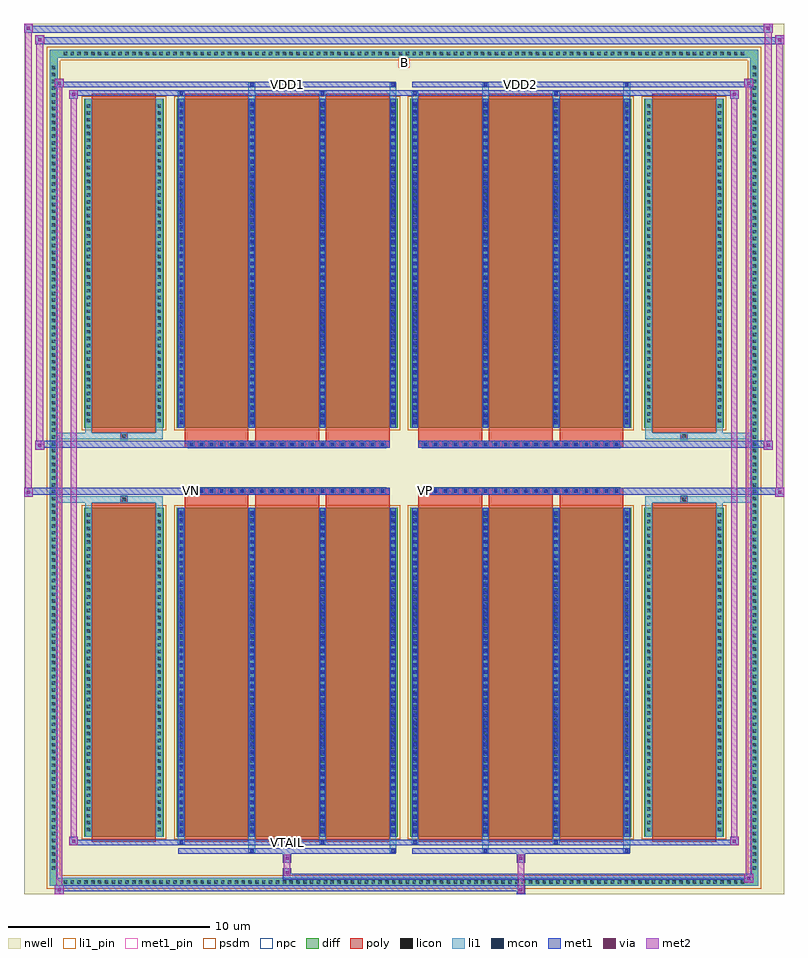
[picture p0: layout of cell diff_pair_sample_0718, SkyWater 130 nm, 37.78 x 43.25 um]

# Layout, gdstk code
import gdstk
lib = gdstk.Library(unit=1e-6, precision=5e-09)
def R(c, l, rs):  # rectangles x0, y0, x1, y1
    for r in rs: c.add(gdstk.rectangle(r[:2], r[2:], *l))
def A(c, l, x, y, w, h, nx, ny, dx, dy):  # array of equal rectangles
    R(c, l, [(x+i*dx, y+j*dy, x+i*dx+w, y+j*dy+h) for i in range(nx) for j in range(ny)])
def P(c, l, *ps):  # polygons
    for p in ps: c.add(gdstk.Polygon(p, *l))
nwell = (64, 20)
diff = (65, 20)
poly = (66, 20)
licon = (66, 44)
li1_pin = (67, 16)
li1 = (67, 20)
mcon = (67, 44)
met1_pin = (68, 16)
met1 = (68, 20)
via = (68, 44)
met2 = (69, 20)
psdm = (94, 20)
npc = (95, 20)

diff_pair_sample_0718 = lib.new_cell('diff_pair_sample_0718')
R(diff_pair_sample_0718, nwell, [(-18.89,-21.19,18.89,22.06), (-16.21,-19.38,-0.01,-0.8), (0.01,-19.38,16.21,-0.8), (-16.21,0.8,-0.01,19.38), (0.01,0.8,16.21,19.38)])
A(diff_pair_sample_0718, diff, -17.035, -20.79, 0.41, 0.41, 100, 2, 0.34, 41.17)
A(diff_pair_sample_0718, diff, -17.62, -20.095, 0.41, 0.41, 1, 118, 0, 0.34)
A(diff_pair_sample_0718, diff, 17.21, -20.095, 0.41, 0.41, 1, 118, 0, 0.34)
R(diff_pair_sample_0718, diff, [(-17.035,-20.79,17.035,-20.38), (-17.62,-20.095,-17.21,20.095), (17.21,-20.095,17.62,20.095), (-15.9,-18.335,-11.94,-1.985), (-11.3,-18.335,-0.32,-1.985), (0.32,-18.335,11.3,-1.985), (11.94,-18.335,15.9,-1.985), (-15.9,1.985,-11.94,18.335), (-11.3,1.985,-0.32,18.335), (0.32,1.985,11.3,18.335), (11.94,1.985,15.9,18.335), (-17.035,20.38,17.035,20.79)])
P(diff_pair_sample_0718, diff, [(17.62,20.79),(-17.62,20.79),(-17.62,-20.38),(-17.21,-20.38),(-17.21,20.38),(17.21,20.38),(17.21,-20.38),(-17.21,-20.38),(-17.62,-20.38),(-17.62,-20.79),(17.62,-20.79)])
A(diff_pair_sample_0718, poly, -10.91, -18.585, 3.18, 16.85, 3, 2, 3.51, 20.32)
A(diff_pair_sample_0718, poly, 0.71, -18.585, 3.18, 16.85, 3, 2, 3.51, 20.32)
A(diff_pair_sample_0718, poly, -10.91, -1.735, 3.18, 0.405, 3, 2, 3.51, 3.065)
A(diff_pair_sample_0718, poly, 0.71, -1.735, 3.18, 0.405, 3, 2, 3.51, 3.065)
A(diff_pair_sample_0718, poly, -10.725, -1.33, 0.33, 0.33, 20, 2, 0.5, 2.33)
A(diff_pair_sample_0718, poly, 0.895, -1.33, 0.33, 0.33, 20, 2, 0.5, 2.33)
R(diff_pair_sample_0718, poly, [(-15.51,-18.585,-12.33,-1.735), (12.33,-18.585,15.51,-1.735), (-14.085,-1.735,-13.755,-1.405), (-14.085,-1.735,-13.755,-1.405), (13.755,-1.735,14.085,-1.405), (13.755,-1.735,14.085,-1.405), (-10.91,-1.33,-0.71,-1), (0.71,-1.33,10.91,-1), (-10.91,1,-0.71,1.33), (0.71,1,10.91,1.33), (-14.085,1.405,-13.755,1.735), (-14.085,1.405,-13.755,1.735), (13.755,1.405,14.085,1.735), (13.755,1.405,14.085,1.735), (-15.51,1.735,-12.33,18.585), (12.33,1.735,15.51,18.585)])
A(diff_pair_sample_0718, licon, -16.915, -20.67, 0.17, 0.17, 100, 2, 0.34, 41.17)
A(diff_pair_sample_0718, licon, -17.5, -19.975, 0.17, 0.17, 1, 118, 0, 0.34)
A(diff_pair_sample_0718, licon, 17.33, -19.975, 0.17, 0.17, 1, 118, 0, 0.34)
A(diff_pair_sample_0718, licon, -15.76, -18.065, 0.17, 0.17, 1, 47, 0, 0.34)
A(diff_pair_sample_0718, licon, -12.25, -18.065, 0.17, 0.17, 1, 47, 0, 0.34)
A(diff_pair_sample_0718, licon, -11.16, -18.065, 0.17, 0.17, 4, 47, 3.51, 0.34)
A(diff_pair_sample_0718, licon, 0.46, -18.065, 0.17, 0.17, 4, 47, 3.51, 0.34)
A(diff_pair_sample_0718, licon, 12.08, -18.065, 0.17, 0.17, 1, 47, 0, 0.34)
A(diff_pair_sample_0718, licon, 15.59, -18.065, 0.17, 0.17, 1, 47, 0, 0.34)
A(diff_pair_sample_0718, licon, -10.645, -1.25, 0.17, 0.17, 20, 2, 0.5, 2.33)
A(diff_pair_sample_0718, licon, 0.975, -1.25, 0.17, 0.17, 20, 2, 0.5, 2.33)
A(diff_pair_sample_0718, licon, -15.76, 2.255, 0.17, 0.17, 1, 47, 0, 0.34)
A(diff_pair_sample_0718, licon, -12.25, 2.255, 0.17, 0.17, 1, 47, 0, 0.34)
A(diff_pair_sample_0718, licon, -11.16, 2.255, 0.17, 0.17, 4, 47, 3.51, 0.34)
A(diff_pair_sample_0718, licon, 0.46, 2.255, 0.17, 0.17, 4, 47, 3.51, 0.34)
A(diff_pair_sample_0718, licon, 12.08, 2.255, 0.17, 0.17, 1, 47, 0, 0.34)
A(diff_pair_sample_0718, licon, 15.59, 2.255, 0.17, 0.17, 1, 47, 0, 0.34)
R(diff_pair_sample_0718, licon, [(-14.005,-1.655,-13.835,-1.485), (13.835,-1.655,14.005,-1.485), (-14.005,1.485,-13.835,1.655), (13.835,1.485,14.005,1.655)])
R(diff_pair_sample_0718, li1_pin, [(-0.25,19.88,0.25,20.38)])
A(diff_pair_sample_0718, li1, -16.995, -20.75, 0.33, 0.33, 100, 2, 0.34, 41.17)
A(diff_pair_sample_0718, li1, -17.58, -20.055, 0.33, 0.33, 1, 118, 0, 0.34)
A(diff_pair_sample_0718, li1, 17.25, -20.055, 0.33, 0.33, 1, 118, 0, 0.34)
A(diff_pair_sample_0718, li1, -11.24, -18.335, 0.33, 16.35, 4, 2, 3.51, 20.32)
A(diff_pair_sample_0718, li1, 0.38, -18.335, 0.33, 16.35, 4, 2, 3.51, 20.32)
A(diff_pair_sample_0718, li1, -11.16, -18.165, 0.17, 0.17, 4, 45, 3.51, 0.36)
A(diff_pair_sample_0718, li1, -11.16, -18.165, 0.17, 16.01, 4, 2, 3.51, 20.32)
A(diff_pair_sample_0718, li1, 0.46, -18.165, 0.17, 0.17, 4, 45, 3.51, 0.36)
A(diff_pair_sample_0718, li1, 0.46, -18.165, 0.17, 16.01, 4, 2, 3.51, 20.32)
A(diff_pair_sample_0718, li1, -15.84, -18.145, 0.33, 0.33, 1, 47, 0, 0.34)
A(diff_pair_sample_0718, li1, -12.33, -18.145, 0.33, 0.33, 1, 47, 0, 0.34)
A(diff_pair_sample_0718, li1, -11.24, -18.145, 0.33, 0.33, 4, 47, 3.51, 0.34)
A(diff_pair_sample_0718, li1, 0.38, -18.145, 0.33, 0.33, 4, 47, 3.51, 0.34)
A(diff_pair_sample_0718, li1, 12, -18.145, 0.33, 0.33, 1, 47, 0, 0.34)
A(diff_pair_sample_0718, li1, 15.51, -18.145, 0.33, 0.33, 1, 47, 0, 0.34)
A(diff_pair_sample_0718, li1, -10.725, -1.33, 0.33, 0.33, 20, 2, 0.5, 2.33)
A(diff_pair_sample_0718, li1, 0.895, -1.33, 0.33, 0.33, 20, 2, 0.5, 2.33)
A(diff_pair_sample_0718, li1, -11.16, 2.155, 0.17, 0.17, 4, 45, 3.51, 0.36)
A(diff_pair_sample_0718, li1, 0.46, 2.155, 0.17, 0.17, 4, 45, 3.51, 0.36)
A(diff_pair_sample_0718, li1, -15.84, 2.175, 0.33, 0.33, 1, 47, 0, 0.34)
A(diff_pair_sample_0718, li1, -12.33, 2.175, 0.33, 0.33, 1, 47, 0, 0.34)
A(diff_pair_sample_0718, li1, -11.24, 2.175, 0.33, 0.33, 4, 47, 3.51, 0.34)
A(diff_pair_sample_0718, li1, 0.38, 2.175, 0.33, 0.33, 4, 47, 3.51, 0.34)
A(diff_pair_sample_0718, li1, 12, 2.175, 0.33, 0.33, 1, 47, 0, 0.34)
A(diff_pair_sample_0718, li1, 15.51, 2.175, 0.33, 0.33, 1, 47, 0, 0.34)
R(diff_pair_sample_0718, li1, [(-17.62,-20.79,-17.21,-20.38), (-17.62,-20.79,-17.21,-20.38), (-17.21,-20.79,17.21,-20.38), (17.21,-20.79,17.62,-20.38), (17.21,-20.79,17.62,-20.38), (-17.62,-20.38,-17.21,20.38), (17.21,-20.38,17.62,20.38), (-7.73,-19.14,-7.4,-18.335), (-7.65,-19.14,-7.48,-18.97), (-0.71,-19.14,-0.38,-18.335), (-0.63,-19.14,-0.46,-18.97), (3.89,-19.14,4.22,-18.335), (3.97,-19.14,4.14,-18.97), (10.91,-19.14,11.24,-18.335), (10.99,-19.14,11.16,-18.97), (-11.24,-18.71,-10.91,-18.335), (-11.16,-18.71,-10.99,-18.54), (-4.22,-18.71,-3.89,-18.335), (-4.14,-18.71,-3.97,-18.54), (0.38,-18.71,0.71,-18.335), (0.46,-18.71,0.63,-18.54), (7.4,-18.71,7.73,-18.335), (7.48,-18.71,7.65,-18.54), (-15.84,-18.335,-15.51,-1.985), (-12.33,-18.335,-12,-1.985), (12,-18.335,12.33,-1.985), (15.51,-18.335,15.84,-1.985), (-15.84,-1.985,-15.51,-1.405), (-12.33,-1.985,-12,-1.405), (12,-1.985,12.33,-1.405), (15.51,-1.985,15.84,-1.405), (-17.62,-1.735,-14.085,-1.405), (-15.84,-1.735,-14.085,-1.405), (-14.085,-1.735,-13.755,-1.405), (-13.755,-1.735,-12,-1.405), (12,-1.735,13.755,-1.405), (13.755,-1.735,14.085,-1.405), (13.755,-1.735,17.62,-1.405), (14.085,-1.735,15.84,-1.405), (-17.62,1.405,-14.085,1.735), (-15.84,1.405,-14.085,1.735), (-15.84,1.405,-15.51,1.985), (-14.085,1.405,-13.755,1.735), (-13.755,1.405,-12,1.735), (-12.33,1.405,-12,1.985), (12,1.405,13.755,1.735), (12,1.405,12.33,1.985), (13.755,1.405,14.085,1.735), (13.755,1.405,17.62,1.735), (14.085,1.405,15.84,1.735), (15.51,1.405,15.84,1.985), (-15.84,1.985,-15.51,18.335), (-12.33,1.985,-12,18.335), (12,1.985,12.33,18.335), (15.51,1.985,15.84,18.335), (-11.24,18.335,-10.91,18.71), (-7.73,18.335,-7.4,19.14), (-4.22,18.335,-3.89,18.71), (-0.71,18.335,-0.38,19.14), (0.38,18.335,0.71,18.71), (3.89,18.335,4.22,19.14), (7.4,18.335,7.73,18.71), (10.91,18.335,11.24,19.14), (-11.16,18.54,-10.99,18.71), (-4.14,18.54,-3.97,18.71), (0.46,18.54,0.63,18.71), (7.48,18.54,7.65,18.71), (-7.65,18.97,-7.48,19.14), (-0.63,18.97,-0.46,19.14), (3.97,18.97,4.14,19.14), (10.99,18.97,11.16,19.14), (-17.62,20.38,-17.21,20.79), (-17.62,20.38,-17.21,20.79), (-17.21,20.38,17.21,20.79), (17.21,20.38,17.62,20.79), (17.21,20.38,17.62,20.79)])
A(diff_pair_sample_0718, mcon, -11.16, -18.165, 0.17, 0.17, 4, 45, 3.51, 0.36)
A(diff_pair_sample_0718, mcon, 0.46, -18.165, 0.17, 0.17, 4, 45, 3.51, 0.36)
A(diff_pair_sample_0718, mcon, -10.645, -1.25, 0.17, 0.17, 20, 2, 0.5, 2.33)
A(diff_pair_sample_0718, mcon, 0.975, -1.25, 0.17, 0.17, 20, 2, 0.5, 2.33)
A(diff_pair_sample_0718, mcon, -11.16, 2.155, 0.17, 0.17, 4, 45, 3.51, 0.36)
A(diff_pair_sample_0718, mcon, 0.46, 2.155, 0.17, 0.17, 4, 45, 3.51, 0.36)
R(diff_pair_sample_0718, mcon, [(-7.65,-19.14,-7.48,-18.97), (-0.63,-19.14,-0.46,-18.97), (3.97,-19.14,4.14,-18.97), (10.99,-19.14,11.16,-18.97), (-11.16,-18.71,-10.99,-18.54), (-4.14,-18.71,-3.97,-18.54), (0.46,-18.71,0.63,-18.54), (7.48,-18.71,7.65,-18.54), (-11.16,18.54,-10.99,18.71), (-4.14,18.54,-3.97,18.71), (0.46,18.54,0.63,18.71), (7.48,18.54,7.65,18.71), (-7.65,18.97,-7.48,19.14), (-0.63,18.97,-0.46,19.14), (3.97,18.97,4.14,19.14), (10.99,18.97,11.16,19.14)])
R(diff_pair_sample_0718, met1_pin, [(-5.945,-18.75,-5.675,-18.48), (-10.695,-1.29,-10.425,-1.02), (0.925,-1.29,1.195,-1.02), (-5.945,18.93,-5.675,19.2), (5.675,18.93,5.945,19.2)])
A(diff_pair_sample_0718, met1, -11.22, -18.335, 0.29, 16.35, 4, 2, 3.51, 20.32)
A(diff_pair_sample_0718, met1, 0.4, -18.335, 0.29, 16.35, 4, 2, 3.51, 20.32)
A(diff_pair_sample_0718, met1, -11.22, -18.225, 0.29, 0.29, 4, 45, 3.51, 0.36)
A(diff_pair_sample_0718, met1, 0.4, -18.225, 0.29, 0.29, 4, 45, 3.51, 0.36)
A(diff_pair_sample_0718, met1, -10.705, -1.31, 0.29, 0.29, 20, 2, 0.5, 2.33)
A(diff_pair_sample_0718, met1, 0.915, -1.31, 0.29, 0.29, 20, 2, 0.5, 2.33)
A(diff_pair_sample_0718, met1, -11.22, 2.095, 0.29, 0.29, 4, 45, 3.51, 0.36)
A(diff_pair_sample_0718, met1, 0.4, 2.095, 0.29, 0.29, 4, 45, 3.51, 0.36)
R(diff_pair_sample_0718, met1, [(-17.35,-21.19,-16.92,-20.76), (5.595,-21.19,6.025,-20.76), (-17.35,-21.05,6.025,-20.76), (16.92,-20.62,17.35,-20.19), (-6.025,-20.48,17.35,-20.19), (-6.025,-20.34,-5.595,-19.91), (-6.025,-19.63,-5.595,-19.2), (5.595,-19.63,6.025,-19.2), (-11.22,-19.2,-0.4,-18.91), (-7.71,-19.2,-7.42,-18.91), (-0.69,-19.2,-0.4,-18.91), (0.4,-19.2,11.22,-18.91), (3.91,-19.2,4.2,-18.91), (10.93,-19.2,11.22,-18.91), (-16.64,-18.77,-16.21,-18.34), (-16.64,-18.77,-11.22,-18.48), (-11.22,-18.77,-10.93,-18.48), (-11.22,-18.77,-0.4,-18.48), (-4.2,-18.77,-3.91,-18.48), (-0.4,-18.77,0.4,-18.48), (0.4,-18.77,0.69,-18.48), (0.4,-18.77,11.22,-18.48), (7.42,-18.77,7.71,-18.48), (11.22,-18.77,16.64,-18.48), (16.21,-18.77,16.64,-18.34), (-18.89,-1.43,-18.46,-1), (18.46,-1.43,18.89,-1), (-18.89,-1.33,-0.71,-1), (-10.91,-1.33,-0.71,-1), (0.71,-1.33,10.91,-1), (0.71,-1.33,18.89,-1), (-18.32,0.9,-17.89,1.33), (17.89,0.9,18.32,1.33), (-18.32,1,-10.91,1.33), (-10.91,1,-0.71,1.33), (0.71,1,10.91,1.33), (10.91,1,18.32,1.33), (-16.64,18.34,-16.21,18.77), (16.21,18.34,16.64,18.77), (-16.64,18.48,-11.22,18.77), (-11.22,18.48,-10.93,18.77), (-11.22,18.48,-0.4,18.77), (-4.2,18.48,-3.91,18.77), (-0.4,18.48,0.4,18.77), (0.4,18.48,0.69,18.77), (0.4,18.48,11.22,18.77), (7.42,18.48,7.71,18.77), (11.22,18.48,16.64,18.77), (-17.35,18.91,-16.92,19.34), (-17.35,18.91,-11.22,19.2), (-11.22,18.91,-0.4,19.2), (-7.71,18.91,-7.42,19.2), (-0.69,18.91,-0.4,19.2), (0.4,18.91,11.22,19.2), (3.91,18.91,4.2,19.2), (10.93,18.91,11.22,19.2), (11.22,18.91,17.35,19.2), (16.92,18.91,17.35,19.34), (-18.32,21.06,-17.89,21.49), (-18.32,21.06,-16.21,21.39), (-16.21,21.06,16.21,21.39), (16.21,21.06,18.89,21.39), (18.46,21.06,18.89,21.49), (-18.89,21.63,-18.46,22.06), (-18.89,21.63,-16.21,21.96), (-16.21,21.63,16.21,21.96), (16.21,21.63,18.32,21.96), (17.89,21.63,18.32,22.06)])
R(diff_pair_sample_0718, via, [(-17.21,-21.05,-17.06,-20.9), (5.735,-21.05,5.885,-20.9), (17.06,-20.48,17.21,-20.33), (-5.885,-20.2,-5.735,-20.05), (-5.885,-19.49,-5.735,-19.34), (5.735,-19.49,5.885,-19.34), (-16.5,-18.63,-16.35,-18.48), (16.35,-18.63,16.5,-18.48), (-18.75,-1.29,-18.6,-1.14), (18.6,-1.29,18.75,-1.14), (-18.18,1.04,-18.03,1.19), (18.03,1.04,18.18,1.19), (-16.5,18.48,-16.35,18.63), (16.35,18.48,16.5,18.63), (-17.21,19.05,-17.06,19.2), (17.06,19.05,17.21,19.2), (-18.18,21.2,-18.03,21.35), (18.6,21.2,18.75,21.35), (-18.75,21.77,-18.6,21.92), (18.03,21.77,18.18,21.92)])
R(diff_pair_sample_0718, met2, [(-17.35,-21.19,-16.92,-20.76), (-17.28,-21.19,-16.99,19.34), (-16.99,-21.19,-16.92,-20.76), (-17.3,-21.14,-16.97,-20.81), (5.645,-21.14,5.975,-20.81), (5.645,-20.81,5.975,-19.58), (16.92,-20.62,17.35,-20.19), (16.99,-20.62,17.28,19.34), (17.28,-20.62,17.35,-20.19), (16.97,-20.57,17.3,-20.24), (-5.975,-20.29,-5.645,-19.96), (-5.975,-19.96,-5.645,-19.58), (-5.975,-19.58,-5.645,-19.25), (5.645,-19.58,5.975,-19.25), (-16.64,-18.77,-16.21,-18.34), (-16.57,-18.77,-16.28,18.77), (-16.28,-18.77,-16.21,-18.34), (16.21,-18.77,16.64,-18.34), (16.28,-18.77,16.57,18.77), (16.57,-18.77,16.64,-18.34), (-16.59,-18.72,-16.26,-18.39), (16.26,-18.72,16.59,-18.39), (-18.89,-1.43,-18.46,-1), (-18.84,-1.43,-18.51,22.06), (-18.51,-1.43,-18.46,-1), (18.46,-1.43,18.89,-1), (18.51,-1.43,18.84,21.49), (18.84,-1.43,18.89,-1), (-18.84,-1.38,-18.51,-1.05), (18.51,-1.38,18.84,-1.05), (-18.32,0.9,-17.89,1.33), (-18.27,0.9,-17.94,21.49), (-17.94,0.9,-17.89,1.33), (17.89,0.9,18.32,1.33), (17.94,0.9,18.27,22.06), (18.27,0.9,18.32,1.33), (-18.27,0.95,-17.94,1.28), (17.94,0.95,18.27,1.28), (-16.64,18.34,-16.21,18.77), (-16.28,18.34,-16.21,18.77), (16.21,18.34,16.64,18.77), (16.57,18.34,16.64,18.77), (-16.59,18.39,-16.26,18.72), (16.26,18.39,16.59,18.72), (-17.35,18.91,-16.92,19.34), (-16.99,18.91,-16.92,19.34), (16.92,18.91,17.35,19.34), (17.28,18.91,17.35,19.34), (-17.3,18.96,-16.97,19.29), (16.97,18.96,17.3,19.29), (-18.32,21.06,-17.89,21.49), (-17.94,21.06,-17.89,21.49), (18.46,21.06,18.89,21.49), (18.84,21.06,18.89,21.49), (-18.27,21.11,-17.94,21.44), (18.51,21.11,18.84,21.44), (-18.89,21.63,-18.46,22.06), (-18.51,21.63,-18.46,22.06), (17.89,21.63,18.32,22.06), (18.27,21.63,18.32,22.06), (-18.84,21.68,-18.51,22.01), (17.94,21.68,18.27,22.01)])
R(diff_pair_sample_0718, psdm, [(-16.03,-18.465,-11.81,-1.855), (-11.43,-18.465,-0.19,-1.855), (0.19,-18.465,11.43,-1.855), (11.81,-18.465,16.03,-1.855), (-16.03,1.855,-11.81,18.465), (-11.43,1.855,-0.19,18.465), (0.19,1.855,11.43,18.465), (11.81,1.855,16.03,18.465)])
P(diff_pair_sample_0718, psdm, [(17.75,20.92),(-17.75,20.92),(-17.75,-20.25),(-17.08,-20.25),(-17.08,20.25),(17.08,20.25),(17.08,-20.25),(-17.08,-20.25),(-17.75,-20.25),(-17.75,-20.92),(17.75,-20.92)])
A(diff_pair_sample_0718, npc, -10.745, -1.35, 0.37, 0.37, 20, 2, 0.5, 2.33)
A(diff_pair_sample_0718, npc, 0.875, -1.35, 0.37, 0.37, 20, 2, 0.5, 2.33)
R(diff_pair_sample_0718, npc, [(-14.105,-1.755,-13.735,-1.385), (13.735,-1.755,14.105,-1.385), (-10.745,-1.35,-9.875,-0.98), (-10.745,-1.35,-9.875,-0.98), (-10.245,-1.35,-9.375,-0.98), (-10.245,-1.35,-9.375,-0.98), (-9.745,-1.35,-8.875,-0.98), (-9.745,-1.35,-8.875,-0.98), (-9.245,-1.35,-8.375,-0.98), (-9.245,-1.35,-8.375,-0.98), (-8.745,-1.35,-7.875,-0.98), (-8.745,-1.35,-7.875,-0.98), (-8.245,-1.35,-7.375,-0.98), (-8.245,-1.35,-7.375,-0.98), (-7.745,-1.35,-6.875,-0.98), (-7.745,-1.35,-6.875,-0.98), (-7.245,-1.35,-6.375,-0.98), (-7.245,-1.35,-6.375,-0.98), (-6.745,-1.35,-5.875,-0.98), (-6.745,-1.35,-5.875,-0.98), (-6.245,-1.35,-5.375,-0.98), (-6.245,-1.35,-5.375,-0.98), (-5.745,-1.35,-4.875,-0.98), (-5.745,-1.35,-4.875,-0.98), (-5.245,-1.35,-4.375,-0.98), (-5.245,-1.35,-4.375,-0.98), (-4.745,-1.35,-3.875,-0.98), (-4.745,-1.35,-3.875,-0.98), (-4.245,-1.35,-3.375,-0.98), (-4.245,-1.35,-3.375,-0.98), (-3.745,-1.35,-2.875,-0.98), (-3.745,-1.35,-2.875,-0.98), (-3.245,-1.35,-2.375,-0.98), (-3.245,-1.35,-2.375,-0.98), (-2.745,-1.35,-1.875,-0.98), (-2.745,-1.35,-1.875,-0.98), (-2.245,-1.35,-1.375,-0.98), (-2.245,-1.35,-1.375,-0.98), (-1.745,-1.35,-0.875,-0.98), (-1.745,-1.35,-0.875,-0.98), (0.875,-1.35,1.745,-0.98), (0.875,-1.35,1.745,-0.98), (1.375,-1.35,2.245,-0.98), (1.375,-1.35,2.245,-0.98), (1.875,-1.35,2.745,-0.98), (1.875,-1.35,2.745,-0.98), (2.375,-1.35,3.245,-0.98), (2.375,-1.35,3.245,-0.98), (2.875,-1.35,3.745,-0.98), (2.875,-1.35,3.745,-0.98), (3.375,-1.35,4.245,-0.98), (3.375,-1.35,4.245,-0.98), (3.875,-1.35,4.745,-0.98), (3.875,-1.35,4.745,-0.98), (4.375,-1.35,5.245,-0.98), (4.375,-1.35,5.245,-0.98), (4.875,-1.35,5.745,-0.98), (4.875,-1.35,5.745,-0.98), (5.375,-1.35,6.245,-0.98), (5.375,-1.35,6.245,-0.98), (5.875,-1.35,6.745,-0.98), (5.875,-1.35,6.745,-0.98), (6.375,-1.35,7.245,-0.98), (6.375,-1.35,7.245,-0.98), (6.875,-1.35,7.745,-0.98), (6.875,-1.35,7.745,-0.98), (7.375,-1.35,8.245,-0.98), (7.375,-1.35,8.245,-0.98), (7.875,-1.35,8.745,-0.98), (7.875,-1.35,8.745,-0.98), (8.375,-1.35,9.245,-0.98), (8.375,-1.35,9.245,-0.98), (8.875,-1.35,9.745,-0.98), (8.875,-1.35,9.745,-0.98), (9.375,-1.35,10.245,-0.98), (9.375,-1.35,10.245,-0.98), (9.875,-1.35,10.745,-0.98), (9.875,-1.35,10.745,-0.98), (-10.745,0.98,-9.875,1.35), (-10.745,0.98,-9.875,1.35), (-10.245,0.98,-9.375,1.35), (-10.245,0.98,-9.375,1.35), (-9.745,0.98,-8.875,1.35), (-9.745,0.98,-8.875,1.35), (-9.245,0.98,-8.375,1.35), (-9.245,0.98,-8.375,1.35), (-8.745,0.98,-7.875,1.35), (-8.745,0.98,-7.875,1.35), (-8.245,0.98,-7.375,1.35), (-8.245,0.98,-7.375,1.35), (-7.745,0.98,-6.875,1.35), (-7.745,0.98,-6.875,1.35), (-7.245,0.98,-6.375,1.35), (-7.245,0.98,-6.375,1.35), (-6.745,0.98,-5.875,1.35), (-6.745,0.98,-5.875,1.35), (-6.245,0.98,-5.375,1.35), (-6.245,0.98,-5.375,1.35), (-5.745,0.98,-4.875,1.35), (-5.745,0.98,-4.875,1.35), (-5.245,0.98,-4.375,1.35), (-5.245,0.98,-4.375,1.35), (-4.745,0.98,-3.875,1.35), (-4.745,0.98,-3.875,1.35), (-4.245,0.98,-3.375,1.35), (-4.245,0.98,-3.375,1.35), (-3.745,0.98,-2.875,1.35), (-3.745,0.98,-2.875,1.35), (-3.245,0.98,-2.375,1.35), (-3.245,0.98,-2.375,1.35), (-2.745,0.98,-1.875,1.35), (-2.745,0.98,-1.875,1.35), (-2.245,0.98,-1.375,1.35), (-2.245,0.98,-1.375,1.35), (-1.745,0.98,-0.875,1.35), (-1.745,0.98,-0.875,1.35), (0.875,0.98,1.745,1.35), (0.875,0.98,1.745,1.35), (1.375,0.98,2.245,1.35), (1.375,0.98,2.245,1.35), (1.875,0.98,2.745,1.35), (1.875,0.98,2.745,1.35), (2.375,0.98,3.245,1.35), (2.375,0.98,3.245,1.35), (2.875,0.98,3.745,1.35), (2.875,0.98,3.745,1.35), (3.375,0.98,4.245,1.35), (3.375,0.98,4.245,1.35), (3.875,0.98,4.745,1.35), (3.875,0.98,4.745,1.35), (4.375,0.98,5.245,1.35), (4.375,0.98,5.245,1.35), (4.875,0.98,5.745,1.35), (4.875,0.98,5.745,1.35), (5.375,0.98,6.245,1.35), (5.375,0.98,6.245,1.35), (5.875,0.98,6.745,1.35), (5.875,0.98,6.745,1.35), (6.375,0.98,7.245,1.35), (6.375,0.98,7.245,1.35), (6.875,0.98,7.745,1.35), (6.875,0.98,7.745,1.35), (7.375,0.98,8.245,1.35), (7.375,0.98,8.245,1.35), (7.875,0.98,8.745,1.35), (7.875,0.98,8.745,1.35), (8.375,0.98,9.245,1.35), (8.375,0.98,9.245,1.35), (8.875,0.98,9.745,1.35), (8.875,0.98,9.745,1.35), (9.375,0.98,10.245,1.35), (9.375,0.98,10.245,1.35), (9.875,0.98,10.745,1.35), (9.875,0.98,10.745,1.35), (-14.105,1.385,-13.735,1.755), (13.735,1.385,14.105,1.755)])
diff_pair_sample_0718.add(gdstk.Label('VTAIL', (-5.81,-18.615), layer=68, texttype=5))
diff_pair_sample_0718.add(gdstk.Label('VN', (-10.56,-1.155), layer=68, texttype=5))
diff_pair_sample_0718.add(gdstk.Label('VP', (1.06,-1.155), layer=68, texttype=5))
diff_pair_sample_0718.add(gdstk.Label('B', (0,20.13), layer=67, texttype=5))
diff_pair_sample_0718.add(gdstk.Label('VDD2', (5.81,19.065), layer=68, texttype=5))
diff_pair_sample_0718.add(gdstk.Label('VDD1', (-5.81,19.065), layer=68, texttype=5))

lib.write_gds('diff_pair_sample_0718.gds')
